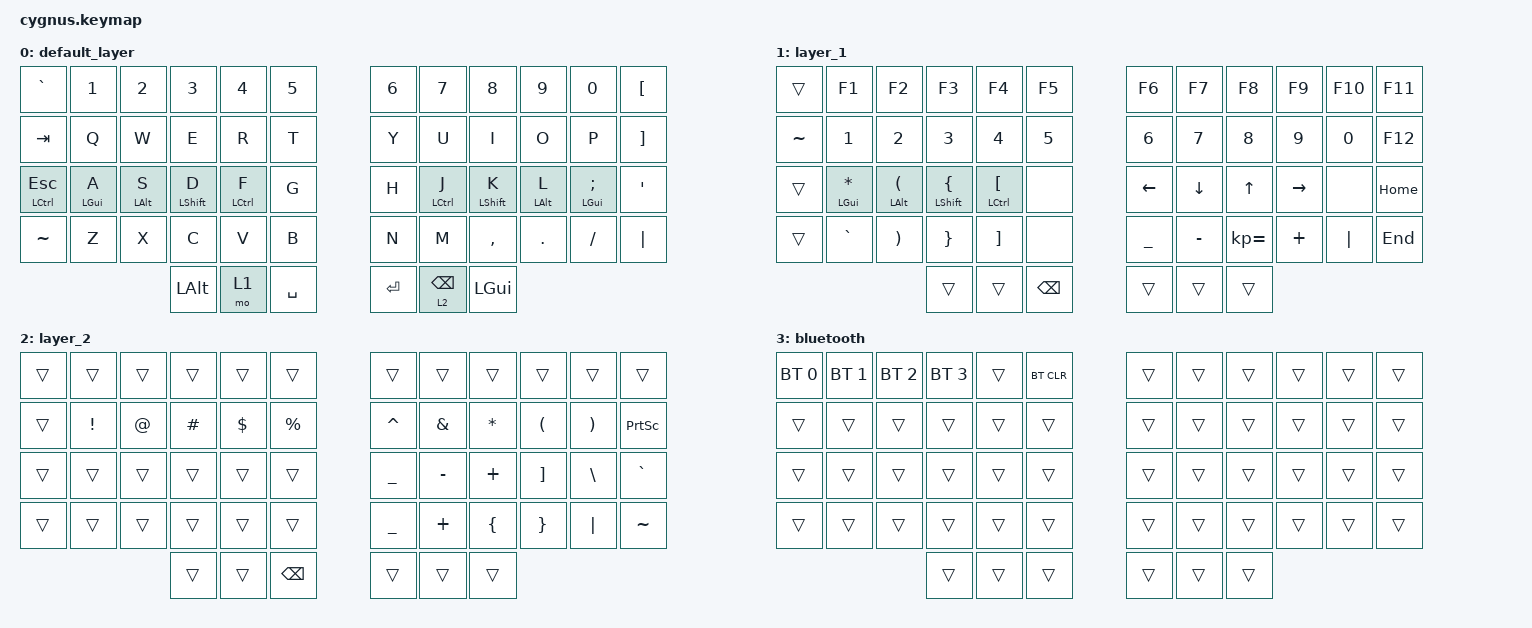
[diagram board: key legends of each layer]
#include <behaviors.dtsi>
#include <dt-bindings/zmk/bt.h>
#include <dt-bindings/zmk/keys.h>

/ {
    combos {
        compatible = "zmk,combos";

        bluetooth {
            bindings = <&mo 3>;
            key-positions = <41 36>;
        };

        bt2 {
            bindings = <&mo 3>;
            key-positions = <48 53>;
        };
    };

    behaviors {
        hml: hml {
            compatible = "zmk,behavior-hold-tap";
            label = "HOME_ROW_LEFT";
            bindings = <&kp>, <&kp>;

            #binding-cells = <2>;
            hold-trigger-key-positions = <6 7 8 9 10 11 18 19 20 21 22 23 30 31 32 33 34 35 42 43 44 45 46 47>;
            tapping-term-ms = <180>;
            quick-tap-ms = <175>;
            require-prior-idle-ms = <150>;
            flavor = "balanced";
            hold-trigger-on-release;
        };

        hmr: hmr {
            compatible = "zmk,behavior-hold-tap";
            label = "HOME_ROW_RIGHT";
            bindings = <&kp>, <&kp>;

            #binding-cells = <2>;
            tapping-term-ms = <180>;
            quick-tap-ms = <175>;
            require-prior-idle-ms = <150>;
            flavor = "balanced";
            hold-trigger-key-positions = <0 1 2 3 4 5 12 13 14 15 16 17 24 25 26 27 28 29 36 37 38 39 40 41>;
            hold-trigger-on-release;
        };
    };

    keymap {
        compatible = "zmk,keymap";

        default_layer {
            // -----------------------------------------------------------------------------------------
            // |  ESC |  1  |  2  |  3  |  4  |  5  |   |  6  |  7   |  8  |  9  |  0  |  ?   |
            // |  TAB |  Q  |  W  |  E  |  R  |  T  |   |  Y  |  U   |  I  |  O  |  P  | BKSP |
            // | CTRL |  A  |  S  |  D  |  F  |  G  |   |  H  |  J   |  K  |  L  |  ;  |  '   |
            // | SHFT |  Z  |  X  |  C  |  V  |  B  |   |  N  |  M   |  ,  |  .  |  /  | ESC  |
            //                    | GUI | LWR | SPC |   | ENT | RSE  | ALT |

            bindings = <
&kp GRAVE      &kp N1           &kp N2           &kp N3             &kp N4        &kp N5       &kp N6   &kp N7           &kp N8             &kp N9           &kp N0              &kp LEFT_BRACKET
&kp TAB        &kp Q            &kp W            &kp E              &kp R         &kp T        &kp Y    &kp U            &kp I              &kp O            &kp P               &kp RIGHT_BRACKET
&mt LCTRL ESC  &hml LEFT_GUI A  &hml LEFT_ALT S  &hml LEFT_SHIFT D  &hml LCTRL F  &kp G        &kp H    &hmr LCTRL J     &hmr LEFT_SHIFT K  &hmr LEFT_ALT L  &hmr LEFT_GUI SEMI  &kp SQT
&kp TILDE      &kp Z            &kp X            &kp C              &kp V         &kp B        &kp N    &kp M            &kp COMMA          &kp DOT          &kp SLASH           &kp PIPE
                                                 &kp LEFT_ALT       &mo 1         &kp SPACE    &kp RET  &lt 2 BACKSPACE  &kp LEFT_GUI
            >;
        };

        layer_1 {
            // -----------------------------------------------------------------------------------------
            // |  TAB |  F1 |  F2 |  F3 |  F4 |  F5 |   |  F6 |  F7 |  F8 |  F9 | F10 | BKSP |
            // |  TAB |  1  |  2  |  3  |  4  |  5  |   |  6  |  7  |  8  |  9  |  0  | BKSP |
            // | BTCLR| BT1 | BT2 | BT3 | BT4 | BT5 |   | LFT | DWN |  UP | RGT |     |      |
            // | SHFT |     |     |     |     |     |   |     |     |     |     |     |      |
            //                    | GUI |     | SPC |   | ENT |     | ALT |

            bindings = <
&trans     &kp F1               &kp F2                          &kp F3                      &kp F4                   &kp F5           &kp F6     &kp F7     &kp F8        &kp F9     &kp F10   &kp F11
&kp TILDE  &kp NUMBER_1         &kp NUMBER_2                    &kp NUMBER_3                &kp NUMBER_4             &kp N5           &kp N6     &kp N7     &kp N8        &kp N9     &kp N0    &kp F12
&trans     &hml LEFT_GUI ASTRK  &hml LEFT_ALT LEFT_PARENTHESIS  &hml LEFT_SHIFT LEFT_BRACE  &hml LCTRL LEFT_BRACKET  &none            &kp LEFT   &kp DOWN   &kp UP_ARROW  &kp RIGHT  &none     &kp HOME
&trans     &kp GRAVE            &kp RPAR                        &kp RIGHT_BRACE             &kp RIGHT_BRACKET        &none            &kp UNDER  &kp MINUS  &kp KP_EQUAL  &kp PLUS   &kp PIPE  &kp END
                                                                &trans                      &trans                   &kp BACKSPACE    &trans     &trans     &trans
            >;
        };

        layer_2 {
            // -----------------------------------------------------------------------------------------
            // |  TAB |  !  |  @  |  #  |  $  |  %  |   |  ^  |  &  |  *  |  (  |  )  | BKSP |
            // | CTRL |     |     |     |     |     |   |  -  |  =  |  [  |  ]  |  \  |  `   |
            // | SHFT |     |     |     |     |     |   |  _  |  +  |  {  |  }  | "|" |  ~   |
            //                    | GUI |     | SPC |   | ENT |     | ALT |

            bindings = <
&trans  &trans    &trans  &trans    &trans    &trans           &trans     &trans     &trans     &trans    &trans    &trans
&trans  &kp EXCL  &kp AT  &kp HASH  &kp DLLR  &kp PRCNT        &kp CARET  &kp AMPS   &kp ASTRK  &kp LPAR  &kp RPAR  &kp PRINTSCREEN
&trans  &trans    &trans  &trans    &trans    &trans           &kp UNDER  &kp MINUS  &kp PLUS   &kp RBKT  &kp BSLH  &kp GRAVE
&trans  &trans    &trans  &trans    &trans    &trans           &kp UNDER  &kp PLUS   &kp LBRC   &kp RBRC  &kp PIPE  &kp TILDE
                          &trans    &trans    &kp BACKSPACE    &trans     &trans     &trans
            >;
        };

        bluetooth {
            bindings = <
&bt BT_SEL 0  &bt BT_SEL 1  &bt BT_SEL 2  &bt BT_SEL 3  &trans  &bt BT_CLR    &trans  &trans  &trans  &trans  &trans  &trans
&trans        &trans        &trans        &trans        &trans  &trans        &trans  &trans  &trans  &trans  &trans  &trans
&trans        &trans        &trans        &trans        &trans  &trans        &trans  &trans  &trans  &trans  &trans  &trans
&trans        &trans        &trans        &trans        &trans  &trans        &trans  &trans  &trans  &trans  &trans  &trans
                                          &trans        &trans  &trans        &trans  &trans  &trans
            >;
        };
    };
};
